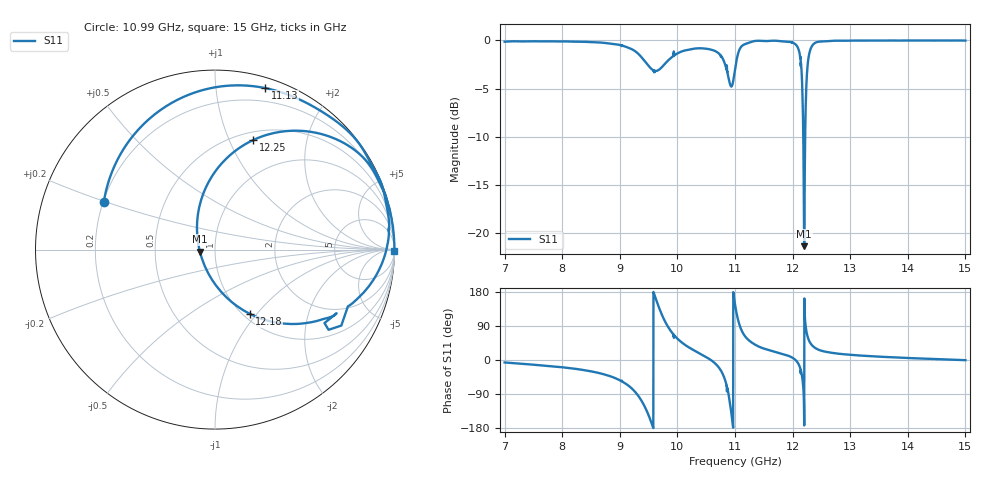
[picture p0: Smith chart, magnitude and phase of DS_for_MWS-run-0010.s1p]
! TOUCHSTONE file generated by CST DESIGN STUDIO
! Date and time: Mon Feb 10 16:41:40 2025
! Project name: C:\Work\MatlabApps\UnitCellType2OptimizationMatlab\CST\unitcell.cst
! Tree item: Tasks\Sweep1\SPara1\S-Parameters
! Header version: 2024
! Port assignment regex: !\s*Touchstone port\s*([0-9]+)\s*=\s*(CST MWS port|CST DES external port|CST DES block port)\s*(.+)\s* \(\"(.*)\"\)(\s*mode\s*([0-9]+))?.*
! Touchstone port assignment:
! Touchstone port 1 = CST DES external port 1 ("")
# GHz S MA R 50
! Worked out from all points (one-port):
!   4001 points, 7 GHz to 15 GHz, reference 50 ohm
!   lowest |S11| = -21.4 dB at 12.2 GHz (marker M1), VSWR 1.19, Z = 42.2 - j0.928 ohm
!   |S11| at or under -10 dB: 12.18532 GHz to 12.21804 GHz (32.72 MHz wide, 0.268 % of centre)
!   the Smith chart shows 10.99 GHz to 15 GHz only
!   S11 on the Smith chart (normalised r, x): 10.99 GHz: 0.20, +0.20; 11.13 GHz: 0.08, +1.35; 12.18 GHz: 1.07, -0.92; 12.25 GHz: 0.59, +1.23; 15 GHz: open
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7  0.9852 -6.5
8  0.9886 -19.1
9  0.9477 -53.5
9.348  0.8364 -100.6
9.458  0.7636 -131.1
9.572  0.7018 -175.3
9.766  0.7461 107.6
10  0.8562 56.4
10.334  0.9094 21.7
10.69  0.8692 -14.4
10.798  0.7925 -40.7
10.88  0.653 -83.8
10.93  0.5771 -132.3
10.99  0.6737 156.9
11  0.706 146.7
11.06  0.8677 101.9
11.132  0.9424 72.7
11.392  0.9964 36.9
12  0.9747 5.7
12.11  0.8856 -12.8
12.18  0.4064 -61.6
12.202  0.08506 -172.6
12.246  0.6463 70.8
12.314  0.9057 43.4
12.41  0.978 30.1
13  0.9985 13.7
14  0.9995 5.3
15  0.9986 -0.5
